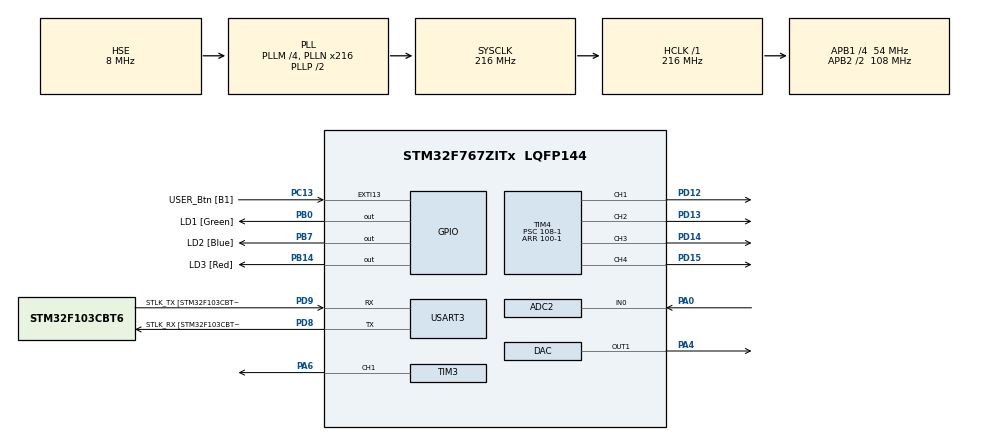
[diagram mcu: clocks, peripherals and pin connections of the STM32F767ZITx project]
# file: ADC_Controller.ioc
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ADC2.Channel-1\#ChannelRegularConversion=ADC_CHANNEL_0
ADC2.NbrOfConversion=1
ADC2.NbrOfConversionFlag=1
ADC2.Rank-1\#ChannelRegularConversion=1
ADC2.SamplingTime-1\#ChannelRegularConversion=ADC_SAMPLETIME_84CYCLES
Mcu.Family=STM32F7
Mcu.Name=STM32F767ZITx
Mcu.Package=LQFP144
NVIC.PriorityGroup=NVIC_PRIORITYGROUP_4
NVIC.RCC_IRQn=true\:0\:0\:false\:false\:true\:true\:false\:true
NVIC.TIM2_IRQn=true\:0\:0\:false\:false\:true\:true\:true\:true
NVIC.TIM3_IRQn=true\:0\:0\:false\:false\:true\:true\:true\:true
NVIC.TIM4_IRQn=true\:0\:0\:false\:false\:true\:true\:true\:true
NVIC.USART3_IRQn=true\:0\:0\:false\:false\:true\:true\:true\:true
PA0/WKUP.Signal=ADCx_IN0
PA13.GPIO_Label=TMS
PA13.Mode=Serial_Wire
PA13.Signal=SYS_JTMS-SWDIO
PA14.GPIO_Label=TCK
PA14.Mode=Serial_Wire
PA14.Signal=SYS_JTCK-SWCLK
PA4.Signal=COMP_DAC1_group
PA6.Signal=S_TIM3_CH1
PB0.GPIO_Label=LD1 [Green]
PB0.Signal=GPIO_Output
PB14.GPIO_Label=LD3 [Red]
PB14.Signal=GPIO_Output
PB7.GPIO_Label=LD2 [Blue]
PB7.Signal=GPIO_Output
PC13.GPIO_Label=USER_Btn [B1]
PC13.Signal=GPXTI13
PD12.Signal=S_TIM4_CH1
PD13.Signal=S_TIM4_CH2
PD14.Signal=S_TIM4_CH3
PD15.Signal=S_TIM4_CH4
PD8.GPIO_Label=STLK_RX [STM32F103CBT6_PA3]
PD8.Mode=Asynchronous
PD8.Signal=USART3_TX
PD9.GPIO_Label=STLK_TX [STM32F103CBT6_PA2]
PD9.Mode=Asynchronous
PD9.Signal=USART3_RX
PH0/OSC_IN.Mode=HSE-External-Oscillator
PH0/OSC_IN.Signal=RCC_OSC_IN
PH1/OSC_OUT.Mode=HSE-External-Oscillator
PH1/OSC_OUT.Signal=RCC_OSC_OUT
ProjectManager.HeapSize=0x200
ProjectManager.StackSize=0x400
ProjectManager.TargetToolchain=STM32CubeIDE
RCC.48MHZClocksFreq_Value=24000000
RCC.AHBFreq_Value=216000000
RCC.APB1CLKDivider=RCC_HCLK_DIV4
RCC.APB1Freq_Value=54000000
RCC.APB1TimFreq_Value=108000000
RCC.APB2CLKDivider=RCC_HCLK_DIV2
RCC.APB2Freq_Value=108000000
RCC.APB2TimFreq_Value=216000000
RCC.CortexFreq_Value=216000000
RCC.HCLKFreq_Value=216000000
RCC.HSE_VALUE=8000000
RCC.HSI_VALUE=16000000
RCC.LSE_VALUE=32768
RCC.PLLM=4
RCC.PLLMUL=RCC_PLL_MUL9
RCC.PLLN=216
RCC.PLLQ=4
RCC.PLLSourceVirtual=RCC_PLLSOURCE_HSE
RCC.PRESCALERUSB=RCC_USBCLKSOURCE_PLL_DIV1_5
RCC.SYSCLKFreq_VALUE=216000000
RCC.SYSCLKSource=RCC_SYSCLKSOURCE_PLLCLK
RCC.SYSCLKSourceVirtual=RCC_SYSCLKSOURCE_PLLCLK
RCC.USBFreq_Value=108000000
RCC.VCOOutputFreq_Value=432000000
SH.ADCx_IN0.0=ADC2_IN0,IN0
SH.COMP_DAC1_group.0=DAC_OUT1,DAC_OUT1
SH.S_TIM3_CH1.0=TIM3_CH1,PWM Generation1 CH1
SH.S_TIM4_CH1.0=TIM4_CH1,PWM Generation1 CH1
SH.S_TIM4_CH2.0=TIM4_CH2,PWM Generation2 CH2
SH.S_TIM4_CH3.0=TIM4_CH3,PWM Generation3 CH3
SH.S_TIM4_CH4.0=TIM4_CH4,PWM Generation4 CH4
TIM2.AutoReloadPreload=TIM_AUTORELOAD_PRELOAD_ENABLE
TIM2.Period=1000-1
TIM2.Prescaler=108-1
TIM3.Channel-PWM\ Generation1\ CH1=TIM_CHANNEL_1
TIM3.Period=83-1
TIM3.Prescaler=108-1
TIM3.Pulse-PWM\ Generation1\ CH1=50-1
TIM4.Channel-PWM\ Generation1\ CH1=TIM_CHANNEL_1
TIM4.Channel-PWM\ Generation2\ CH2=TIM_CHANNEL_2
TIM4.Channel-PWM\ Generation3\ CH3=TIM_CHANNEL_3
TIM4.Channel-PWM\ Generation4\ CH4=TIM_CHANNEL_4
TIM4.Period=100-1
TIM4.Prescaler=108-1
TIM4.Pulse-PWM\ Generation1\ CH1=50-1
TIM4.Pulse-PWM\ Generation2\ CH2=1-1
TIM4.Pulse-PWM\ Generation3\ CH3=1-1
TIM4.Pulse-PWM\ Generation4\ CH4=1-1
USART3.VirtualMode-Asynchronous=VM_ASYNC
VP_TIM2_VS_ClockSourceINT.Mode=Internal
VP_TIM3_VS_ClockSourceINT.Mode=Internal
VP_TIM4_VS_ClockSourceINT.Mode=Internal
board=NUCLEO-F767ZI

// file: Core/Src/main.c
/* USER CODE BEGIN Header */
/**
 ******************************************************************************
 * @file           : main.c
 * @brief          : Main program body
 ******************************************************************************
 * @attention
 *
 * Copyright (c) 2023 STMicroelectronics.
 * All rights reserved.
 *
 * This software is licensed under terms that can be found in the LICENSE file
 * in the root directory of this software component.
 * If no LICENSE file comes with this software, it is provided AS-IS.
 *
 ******************************************************************************
 */
/* USER CODE END Header */
#include "main.h"

/* USER CODE BEGIN Includes */
#include <stdio.h>
#include <string.h>
#include "stdbool.h"
#include "stdlib.h"

#include "math.h"
/* USER CODE END Includes */

/* USER CODE BEGIN PTD */
#define RX_BUF	10
#define PI		3.141592
#define SAMPLES	200	//DAC Perind 10kHz / SAMPLES -> DAC Frequency
/* USER CODE END PTD */

ADC_HandleTypeDef hadc2;

DAC_HandleTypeDef hdac;

TIM_HandleTypeDef htim2;
TIM_HandleTypeDef htim3;
TIM_HandleTypeDef htim4;

UART_HandleTypeDef huart3;

/* USER CODE BEGIN PV */
int16_t IV[SAMPLES];
uint8_t tick;
int16_t dacv;

uint16_t Tim_flag;
uint16_t Pim_flag;

uint8_t rx_data;

char data_arr[RX_BUF] = "";
char data_cmd[RX_BUF] = "";
uint8_t idx;

uint8_t dbg_flag;
uint8_t sts_flag;

uint16_t value;

struct pvalue
{
	uint8_t at;
	uint8_t bt;
	uint8_t ct;
	uint8_t dt;
	uint8_t et;

	uint8_t dav;
}pg1;

/* USER CODE END PV */

void SystemClock_Config(void);
static void MX_GPIO_Init(void);
static void MX_USART3_UART_Init(void);
static void MX_TIM2_Init(void);
static void MX_TIM3_Init(void);
static void MX_TIM4_Init(void);
static void MX_ADC2_Init(void);
static void MX_DAC_Init(void);
/* USER CODE BEGIN PFP */
void Command_Access();
void PWM_Update();

void DAC_Sample();
void HAC_Sample();
void DAC_Drive();
/* USER CODE END PFP */

/* USER CODE BEGIN 0 */
#ifdef __cplusplus
extern "C" int _write(int32_t file, uint8_t *ptr, int32_t len) {
#else
	int _write(int32_t file, uint8_t *ptr, int32_t len) {
#endif
		if( HAL_UART_Transmit(&huart3, ptr, len, len) == HAL_OK ) return len;
		else return 0;
	}
/* USER CODE END 0 */

int main(void)
{

  /* MCU Configuration--------------------------------------------------------*/

  /* Reset of all peripherals, Initializes the Flash interface and the Systick. */
  HAL_Init();

  /* Configure the system clock */
  SystemClock_Config();

  /* Initialize all configured peripherals */
  MX_GPIO_Init();
  MX_USART3_UART_Init();
  MX_TIM2_Init();
  MX_TIM3_Init();
  MX_TIM4_Init();
  MX_ADC2_Init();
  MX_DAC_Init();
  /* USER CODE BEGIN 2 */
	HAL_TIM_Base_Start_IT(&htim2);
	HAL_TIM_Base_Start_IT(&htim3);

	HAL_UART_Receive_IT(&huart3, &rx_data, 1);

	HAL_TIM_PWM_Start(&htim3, TIM_CHANNEL_1);

	HAL_TIM_PWM_Start(&htim4, TIM_CHANNEL_1);
	HAL_TIM_PWM_Start(&htim4, TIM_CHANNEL_2);
	HAL_TIM_PWM_Start(&htim4, TIM_CHANNEL_3);
	HAL_TIM_PWM_Start(&htim4, TIM_CHANNEL_4);

	HAL_DAC_Start(&hdac, DAC_CHANNEL_1);

	dbg_flag = 0;
	sts_flag = 0;

	pg1.at = 0;
	pg1.bt = 0;
	pg1.ct = 0;
	pg1.dt = 0;
	pg1.et = 0;

	DAC_Sample(100);

  /* USER CODE END 2 */

  /* Infinite loop */
  /* USER CODE BEGIN WHILE */
	while (1)
	{
		//Command_Access();
		//DAC_Drive();
		if(Pim_flag >= 10){
			Pim_flag = 0;
			PWM_Update();
		}
		if(Tim_flag >= 1000){
			Tim_flag = 0;
			//HAL_UART_Transmit(&huart3, Text, sizeof(Text), 100);
			HAL_GPIO_TogglePin(LD1_GPIO_Port, LD1_Pin);
		}
		HAL_ADC_Start(&hadc2);
		HAL_ADC_PollForConversion(&hadc2, 10);
		value = HAL_ADC_GetValue(&hadc2);
		HAL_ADC_Stop(&hadc2);

    /* USER CODE END WHILE */

	}
}

void SystemClock_Config(void)
{
  RCC_OscInitTypeDef RCC_OscInitStruct = {0};
  RCC_ClkInitTypeDef RCC_ClkInitStruct = {0};

  /** Configure the main internal regulator output voltage
  */
  __HAL_RCC_PWR_CLK_ENABLE();
  __HAL_PWR_VOLTAGESCALING_CONFIG(PWR_REGULATOR_VOLTAGE_SCALE1);

  /** Initializes the RCC Oscillators according to the specified parameters
  * in the RCC_OscInitTypeDef structure.
  */
  RCC_OscInitStruct.OscillatorType = RCC_OSCILLATORTYPE_HSE;
  RCC_OscInitStruct.HSEState = RCC_HSE_ON;
  RCC_OscInitStruct.PLL.PLLState = RCC_PLL_ON;
  RCC_OscInitStruct.PLL.PLLSource = RCC_PLLSOURCE_HSE;
  RCC_OscInitStruct.PLL.PLLM = 4;
  RCC_OscInitStruct.PLL.PLLN = 216;
  RCC_OscInitStruct.PLL.PLLP = RCC_PLLP_DIV2;
  RCC_OscInitStruct.PLL.PLLQ = 4;
  RCC_OscInitStruct.PLL.PLLR = 2;
  if (HAL_RCC_OscConfig(&RCC_OscInitStruct) != HAL_OK)
  {
    Error_Handler();
  }

  /** Activate the Over-Drive mode
  */
  if (HAL_PWREx_EnableOverDrive() != HAL_OK)
  {
    Error_Handler();
  }

  /** Initializes the CPU, AHB and APB buses clocks
  */
  RCC_ClkInitStruct.ClockType = RCC_CLOCKTYPE_HCLK|RCC_CLOCKTYPE_SYSCLK
                              |RCC_CLOCKTYPE_PCLK1|RCC_CLOCKTYPE_PCLK2;
  RCC_ClkInitStruct.SYSCLKSource = RCC_SYSCLKSOURCE_PLLCLK;
  RCC_ClkInitStruct.AHBCLKDivider = RCC_SYSCLK_DIV1;
  RCC_ClkInitStruct.APB1CLKDivider = RCC_HCLK_DIV4;
  RCC_ClkInitStruct.APB2CLKDivider = RCC_HCLK_DIV2;

  if (HAL_RCC_ClockConfig(&RCC_ClkInitStruct, FLASH_LATENCY_7) != HAL_OK)
  {
    Error_Handler();
  }
}

static void MX_ADC2_Init(void)
{

  ADC_ChannelConfTypeDef sConfig = {0};

  /** Configure the global features of the ADC (Clock, Resolution, Data Alignment and number of conversion)
  */
  hadc2.Instance = ADC2;
  hadc2.Init.ClockPrescaler = ADC_CLOCK_SYNC_PCLK_DIV4;
  hadc2.Init.Resolution = ADC_RESOLUTION_12B;
  hadc2.Init.ScanConvMode = ADC_SCAN_DISABLE;
  hadc2.Init.ContinuousConvMode = DISABLE;
  hadc2.Init.DiscontinuousConvMode = DISABLE;
  hadc2.Init.ExternalTrigConvEdge = ADC_EXTERNALTRIGCONVEDGE_NONE;
  hadc2.Init.ExternalTrigConv = ADC_SOFTWARE_START;
  hadc2.Init.DataAlign = ADC_DATAALIGN_RIGHT;
  hadc2.Init.NbrOfConversion = 1;
  hadc2.Init.DMAContinuousRequests = DISABLE;
  hadc2.Init.EOCSelection = ADC_EOC_SINGLE_CONV;
  if (HAL_ADC_Init(&hadc2) != HAL_OK)
  {
    Error_Handler();
  }

  /** Configure for the selected ADC regular channel its corresponding rank in the sequencer and its sample time.
  */
  sConfig.Channel = ADC_CHANNEL_0;
  sConfig.Rank = ADC_REGULAR_RANK_1;
  sConfig.SamplingTime = ADC_SAMPLETIME_84CYCLES;
  if (HAL_ADC_ConfigChannel(&hadc2, &sConfig) != HAL_OK)
  {
    Error_Handler();
  }

}

static void MX_DAC_Init(void)
{

  DAC_ChannelConfTypeDef sConfig = {0};

  /** DAC Initialization
  */
  hdac.Instance = DAC;
  if (HAL_DAC_Init(&hdac) != HAL_OK)
  {
    Error_Handler();
  }

  /** DAC channel OUT1 config
  */
  sConfig.DAC_Trigger = DAC_TRIGGER_NONE;
  sConfig.DAC_OutputBuffer = DAC_OUTPUTBUFFER_ENABLE;
  if (HAL_DAC_ConfigChannel(&hdac, &sConfig, DAC_CHANNEL_1) != HAL_OK)
  {
    Error_Handler();
  }

}

static void MX_TIM2_Init(void)
{

  TIM_ClockConfigTypeDef sClockSourceConfig = {0};
  TIM_MasterConfigTypeDef sMasterConfig = {0};

  htim2.Instance = TIM2;
  htim2.Init.Prescaler = 108-1;
  htim2.Init.CounterMode = TIM_COUNTERMODE_UP;
  htim2.Init.Period = 1000-1;
  htim2.Init.ClockDivision = TIM_CLOCKDIVISION_DIV1;
  htim2.Init.AutoReloadPreload = TIM_AUTORELOAD_PRELOAD_ENABLE;
  if (HAL_TIM_Base_Init(&htim2) != HAL_OK)
  {
    Error_Handler();
  }
  sClockSourceConfig.ClockSource = TIM_CLOCKSOURCE_INTERNAL;
  if (HAL_TIM_ConfigClockSource(&htim2, &sClockSourceConfig) != HAL_OK)
  {
    Error_Handler();
  }
  sMasterConfig.MasterOutputTrigger = TIM_TRGO_RESET;
  sMasterConfig.MasterSlaveMode = TIM_MASTERSLAVEMODE_DISABLE;
  if (HAL_TIMEx_MasterConfigSynchronization(&htim2, &sMasterConfig) != HAL_OK)
  {
    Error_Handler();
  }

}

static void MX_TIM3_Init(void)
{

  TIM_ClockConfigTypeDef sClockSourceConfig = {0};
  TIM_MasterConfigTypeDef sMasterConfig = {0};
  TIM_OC_InitTypeDef sConfigOC = {0};

  htim3.Instance = TIM3;
  htim3.Init.Prescaler = 108-1;
  htim3.Init.CounterMode = TIM_COUNTERMODE_UP;
  htim3.Init.Period = 83-1;
  htim3.Init.ClockDivision = TIM_CLOCKDIVISION_DIV1;
  htim3.Init.AutoReloadPreload = TIM_AUTORELOAD_PRELOAD_DISABLE;
  if (HAL_TIM_Base_Init(&htim3) != HAL_OK)
  {
    Error_Handler();
  }
  sClockSourceConfig.ClockSource = TIM_CLOCKSOURCE_INTERNAL;
  if (HAL_TIM_ConfigClockSource(&htim3, &sClockSourceConfig) != HAL_OK)
  {
    Error_Handler();
  }
  if (HAL_TIM_PWM_Init(&htim3) != HAL_OK)
  {
    Error_Handler();
  }
  sMasterConfig.MasterOutputTrigger = TIM_TRGO_RESET;
  sMasterConfig.MasterSlaveMode = TIM_MASTERSLAVEMODE_DISABLE;
  if (HAL_TIMEx_MasterConfigSynchronization(&htim3, &sMasterConfig) != HAL_OK)
  {
    Error_Handler();
  }
  sConfigOC.OCMode = TIM_OCMODE_PWM1;
  sConfigOC.Pulse = 50-1;
  sConfigOC.OCPolarity = TIM_OCPOLARITY_HIGH;
  sConfigOC.OCFastMode = TIM_OCFAST_DISABLE;
  if (HAL_TIM_PWM_ConfigChannel(&htim3, &sConfigOC, TIM_CHANNEL_1) != HAL_OK)
  {
    Error_Handler();
  }
  HAL_TIM_MspPostInit(&htim3);

}

static void MX_TIM4_Init(void)
{

  TIM_ClockConfigTypeDef sClockSourceConfig = {0};
  TIM_MasterConfigTypeDef sMasterConfig = {0};
  TIM_OC_InitTypeDef sConfigOC = {0};

  htim4.Instance = TIM4;
  htim4.Init.Prescaler = 108-1;
  htim4.Init.CounterMode = TIM_COUNTERMODE_UP;
  htim4.Init.Period = 100-1;
  htim4.Init.ClockDivision = TIM_CLOCKDIVISION_DIV1;
  htim4.Init.AutoReloadPreload = TIM_AUTORELOAD_PRELOAD_DISABLE;
  if (HAL_TIM_Base_Init(&htim4) != HAL_OK)
  {
    Error_Handler();
  }
  sClockSourceConfig.ClockSource = TIM_CLOCKSOURCE_INTERNAL;
  if (HAL_TIM_ConfigClockSource(&htim4, &sClockSourceConfig) != HAL_OK)
  {
    Error_Handler();
  }
  if (HAL_TIM_PWM_Init(&htim4) != HAL_OK)
  {
    Error_Handler();
  }
  sMasterConfig.MasterOutputTrigger = TIM_TRGO_RESET;
  sMasterConfig.MasterSlaveMode = TIM_MASTERSLAVEMODE_DISABLE;
  if (HAL_TIMEx_MasterConfigSynchronization(&htim4, &sMasterConfig) != HAL_OK)
  {
    Error_Handler();
  }
  sConfigOC.OCMode = TIM_OCMODE_PWM1;
  sConfigOC.Pulse = 50-1;
  sConfigOC.OCPolarity = TIM_OCPOLARITY_HIGH;
  sConfigOC.OCFastMode = TIM_OCFAST_DISABLE;
  if (HAL_TIM_PWM_ConfigChannel(&htim4, &sConfigOC, TIM_CHANNEL_1) != HAL_OK)
  {
    Error_Handler();
  }
  sConfigOC.Pulse = 1-1;
  if (HAL_TIM_PWM_ConfigChannel(&htim4, &sConfigOC, TIM_CHANNEL_2) != HAL_OK)
  {
    Error_Handler();
  }
  if (HAL_TIM_PWM_ConfigChannel(&htim4, &sConfigOC, TIM_CHANNEL_3) != HAL_OK)
  {
    Error_Handler();
  }
  if (HAL_TIM_PWM_ConfigChannel(&htim4, &sConfigOC, TIM_CHANNEL_4) != HAL_OK)
  {
    Error_Handler();
  }
  HAL_TIM_MspPostInit(&htim4);

}

static void MX_USART3_UART_Init(void)
{

  huart3.Instance = USART3;
  huart3.Init.BaudRate = 115200;
  huart3.Init.WordLength = UART_WORDLENGTH_8B;
  huart3.Init.StopBits = UART_STOPBITS_1;
  huart3.Init.Parity = UART_PARITY_NONE;
  huart3.Init.Mode = UART_MODE_TX_RX;
  huart3.Init.HwFlowCtl = UART_HWCONTROL_NONE;
  huart3.Init.OverSampling = UART_OVERSAMPLING_16;
  huart3.Init.OneBitSampling = UART_ONE_BIT_SAMPLE_DISABLE;
  huart3.AdvancedInit.AdvFeatureInit = UART_ADVFEATURE_NO_INIT;
  if (HAL_UART_Init(&huart3) != HAL_OK)
  {
    Error_Handler();
  }

}

static void MX_GPIO_Init(void)
{
  GPIO_InitTypeDef GPIO_InitStruct = {0};

  /* GPIO Ports Clock Enable */
  __HAL_RCC_GPIOC_CLK_ENABLE();
  __HAL_RCC_GPIOH_CLK_ENABLE();
  __HAL_RCC_GPIOA_CLK_ENABLE();
  __HAL_RCC_GPIOB_CLK_ENABLE();
  __HAL_RCC_GPIOD_CLK_ENABLE();

  /*Configure GPIO pin Output Level */
  HAL_GPIO_WritePin(GPIOB, LD1_Pin|LD3_Pin|LD2_Pin, GPIO_PIN_RESET);

  /*Configure GPIO pin : USER_Btn_Pin */
  GPIO_InitStruct.Pin = USER_Btn_Pin;
  GPIO_InitStruct.Mode = GPIO_MODE_IT_RISING;
  GPIO_InitStruct.Pull = GPIO_NOPULL;
  HAL_GPIO_Init(USER_Btn_GPIO_Port, &GPIO_InitStruct);

  /*Configure GPIO pins : LD1_Pin LD3_Pin LD2_Pin */
  GPIO_InitStruct.Pin = LD1_Pin|LD3_Pin|LD2_Pin;
  GPIO_InitStruct.Mode = GPIO_MODE_OUTPUT_PP;
  GPIO_InitStruct.Pull = GPIO_NOPULL;
  GPIO_InitStruct.Speed = GPIO_SPEED_FREQ_LOW;
  HAL_GPIO_Init(GPIOB, &GPIO_InitStruct);

}

/* USER CODE BEGIN 4 */

void Command_Access()
{
	strncpy(data_cmd, data_arr+2, 4);
	data_cmd[3] = '\0';

	if(data_arr[idx-1]== '\r' || data_arr[idx-1]== '\n')
	{
		data_arr[idx] = '\0';
		uint8_t cmd_z[] = "\r\n";

		uint8_t sys_e[] = "\r\n Wrong Command!!\r\n";
		uint8_t sys_a[] = "Applied !!\r\n";

		uint8_t sys_b[64];

		if(strncmp((char*)data_arr, "AT", 2) == 0){
			pg1.at = atoi(data_cmd);
			HAL_UART_Transmit(&huart3, (uint8_t*)sys_a, sizeof(sys_a), 10);
			sts_flag = 1;
		}else if(strncmp((char*)data_arr, "BT", 2) == 0){
			pg1.bt = atoi(data_cmd);
			HAL_UART_Transmit(&huart3, (uint8_t*)sys_a, sizeof(sys_a), 10);
			sts_flag = 2;
		}else if(strncmp((char*)data_arr, "CT", 2) == 0){
			pg1.ct = atoi(data_cmd);
			HAL_UART_Transmit(&huart3, (uint8_t*)sys_a, sizeof(sys_a), 10);
			sts_flag = 3;
		}else if(strncmp((char*)data_arr, "DT", 2) == 0){
			pg1.dt = atoi(data_cmd);
			HAL_UART_Transmit(&huart3, (uint8_t*)sys_a, sizeof(sys_a), 10);
			sts_flag = 4;
		}else if(strncmp((char*)data_arr, "ET", 2) == 0){
			pg1.et = atoi(data_cmd);
			HAL_UART_Transmit(&huart3, (uint8_t*)sys_a, sizeof(sys_a), 10);
			sts_flag = 5;
		}else if(strncmp((char*)data_arr, "OC", 2) == 0){
			//HAL_UART_Transmit(&huart3, (uint8_t*)sys_a, sizeof(sys_a), 10);
			sprintf(sys_b, "\r\nPORTA = %d \r\nPORTB = %d \r\nPORTC = %d \r\nPORTD = %d \r\nPORTE = %d \r\n",
					pg1.at,
					pg1.bt,
					pg1.ct,
					pg1.dt,
					pg1.et);

			HAL_UART_Transmit(&huart3,sys_b,sizeof(sys_b),10);
			sts_flag = 10;
		}else if(strncmp((char*)data_arr, "L1", 2) == 0){
			HAL_UART_Transmit(&huart3, (uint8_t*)sys_a, sizeof(sys_a), 10);
			sts_flag = 11;
			HAL_GPIO_WritePin(LD2_GPIO_Port, LD2_Pin, GPIO_PIN_SET);
		}else if(strncmp((char*)data_arr, "L0", 2) == 0){
			HAL_UART_Transmit(&huart3, (uint8_t*)sys_a, sizeof(sys_a), 10);
			sts_flag = 12;
			HAL_GPIO_WritePin(LD2_GPIO_Port, LD2_Pin, GPIO_PIN_RESET);
		}else if(strncmp((char*)data_arr, "CR", 2) == 0){
			HAL_UART_Transmit(&huart3, (uint8_t*)sys_a, sizeof(sys_a), 10);
			sts_flag = 0;
			pg1.at = 0;
			pg1.bt = 0;
			pg1.ct = 0;
			pg1.dt = 0;
			pg1.et = 0;
		}else if(strncmp((char*)data_arr, "DA", 2) == 0){
			pg1.dav = atoi(data_cmd);
			DAC_Sample(pg1.dav);
			HAL_UART_Transmit(&huart3, (uint8_t*)sys_a, sizeof(sys_a), 10);
			sts_flag = 13;
		}else if(strncmp((char*)data_arr, "HA", 2) == 0){
			pg1.dav = atoi(data_cmd);
			HAC_Sample(pg1.dav);
			HAL_UART_Transmit(&huart3, (uint8_t*)sys_a, sizeof(sys_a), 10);
			sts_flag = 14;
		}else{
			sts_flag = 0;
			HAL_UART_Transmit(&huart3, (uint8_t*)sys_e, sizeof(sys_e), 10);
		}
		idx = 0;
		HAL_UART_Transmit(&huart3, (uint8_t*)cmd_z, sizeof(cmd_z), 1);
	}
}

void PWM_Update()
{
	htim4.Instance->CCR1 = pg1.at;
	htim4.Instance->CCR2 = pg1.bt;
	htim4.Instance->CCR3 = pg1.ct;
	htim4.Instance->CCR4 = pg1.dt;

	htim3.Instance->CCR1 = pg1.et;
}

void HAL_UART_RxCpltCallback(UART_HandleTypeDef *huart)
{
	if (huart->Instance == huart3.Instance)
	{
		HAL_GPIO_TogglePin(LD3_GPIO_Port, LD3_Pin);

		data_arr[idx++] = rx_data;
		HAL_UART_Transmit(&huart3, &rx_data, 1, 1); //10
		HAL_UART_Receive_IT(&huart3, &rx_data, 1);
	}
	Command_Access();
}

void HAL_TIM_PeriodElapsedCallback(TIM_HandleTypeDef *htim)
{
	if(htim->Instance == htim3.Instance)
	{
		Tim_flag++;
		Pim_flag++;

		tick++;
		if(tick >= 200){
			tick = 0;
		}
		HAL_DAC_SetValue(&hdac, DAC_CHANNEL_1, DAC_ALIGN_12B_R, IV[tick]);

	}
}

void DAC_Sample(int s)
{
	for(int i=0; i < SAMPLES; i++){
		//IV[i] = value < 4096 ? value : 4095;
		//value = (uint16_t)rint((sinf(((2*PI)/SAMPLES)*i)+1)*2048);
		dacv = (uint16_t)rint((sinf(((2*PI)/SAMPLES)*i)+1)*(2048 - s*20));
		IV[i] = dacv < (4096 - s*40) ? dacv : (4096 - s*40)-1;
	}
}

void HAC_Sample(int s)
{
	for(int i=0; i < SAMPLES; i++){
		dacv = (uint16_t)rint((sinf(((2*PI)/SAMPLES)*i)+1)*(2048 - s*20));
		IV[i] = dacv < (4096 - s*40) ? dacv - (2048 - s*20) : (2048 - s*20)-1;
		for(int a = 100; a <= 199; a++){
			IV[a] = IV[a - 100];
		}
	}
}

void DAC_Drive(){
	for(int i=0; i < SAMPLES; i++)
	{
		HAL_DAC_SetValue(&hdac, DAC_CHANNEL_1, DAC_ALIGN_12B_R, IV[i]);
	}
}

/* USER CODE END 4 */

void Error_Handler(void)
{
	__disable_irq();
	while (1)
	{
	}
}
